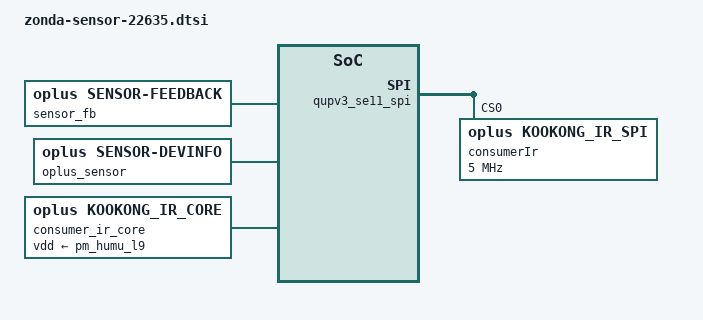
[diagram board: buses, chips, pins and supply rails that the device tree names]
/**********************************************************************************
* Copyright (c)  2008-2021  Guangdong oplus Mobile Comm Corp., Ltd
* Description: oplus sensor dtsi
*
* Version: 1.0
* Date: 2021-07-12
*
* ------------------------------ Revision History: --------------------------------
* <version>           <date>                <author>                            <desc>
***********************************************************************************/
&soc {
	//#ifdef OPLUS_FEATURE_SENSOR_SMEM
	/*enum sensor_id { OPLUS_ACCEL,OPLUS_GYRO,OPLUS_MAG,OPLUS_LIGHT,OPLUS_PROXIMITY,OPLUS_SAR,OPLUS_CT,OPLUS_BAROMETER,SENSORS_NUM};*/
	sensor_fb: sensor_fb {
		compatible = "oplus,sensor-feedback";
		master-id  = <3>;
		smem-id    = <608>;
	};
	oplus_sensor {
		compatible = "oplus,sensor-devinfo";
		als-row-coe = <140>;
	};
	consumer_ir_core: consumer_ir_core {
		compatible = "oplus,kookong_ir_core";
		status = "okay";
		vdd-type = <0>; /*0: internal LDO , 1: external LOD*/
		vdd-supply = <&pm_humu_l9>;
		vdd-min-vol = <3160000>;
		vdd-max-vol = <3160000>;
	};
	//#endif /*OPLUS_FEATURE_SENSOR_SMEM*/
};

&qupv3_se11_spi{
	status = "ok";
	consumerIr@0 {
		compatible = "oplus,kookong_ir_spi";
		reg = <0>;
		status = "ok";

		spi-max-frequency = <5000000>;    /*4800000,9600000,15000000,19200000*/
		ir-spi-mode = <0>;
	};
};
